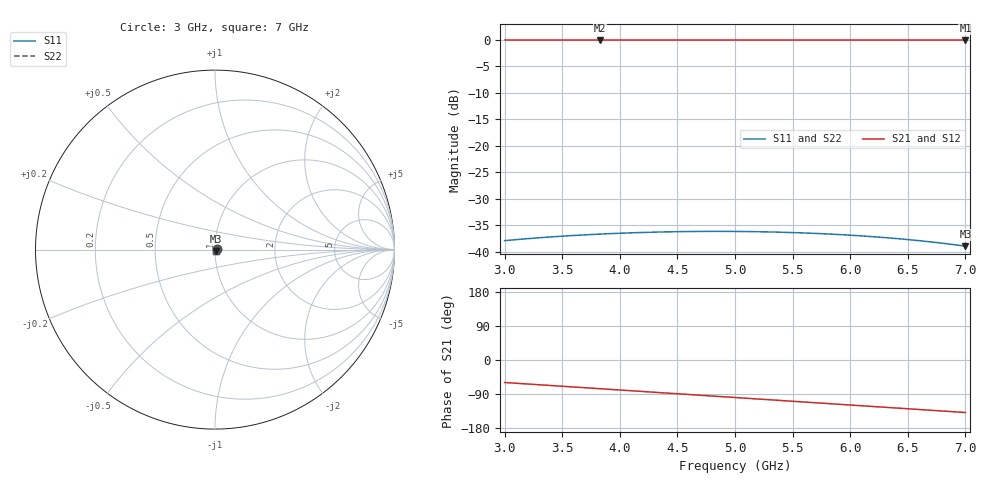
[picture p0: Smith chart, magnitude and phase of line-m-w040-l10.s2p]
! yapnr rf: line-osh-m-w0p40-l10-m-eq, footprint re-simulated (optimization grid)
! spec sha256 c935ef6d7498bb9300fb0b23c3383117289fc7b83088d3c43a507d6c65a34e45
! 2 ports renormalized to 50 ohm, e^(+jwt) convention
# GHz S RI R 50
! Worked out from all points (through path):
!   161 points, 3 GHz to 7 GHz, reference 50 ohm
!   highest |S21| = -0.14 dB at 7 GHz (marker M1); lowest = -0.1 dB at 3.825 GHz (marker M2)
!   group delay of S21, straight-line fit = 55 ps
!   lowest |S11| = -39.0 dB at 7 GHz (marker M3), VSWR 1.02, Z = 50.7 - j0.878 ohm
!   |S11| at or under -10 dB: start of sweep to end of sweep
!   |S22| runs from -39.0 to -36.2 dB; largest |S21 - S12| = 0
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3  0.0112 0.00604  0.5009 -0.8462  0.5009 -0.8462  0.0112 0.00604
3.175  0.012 0.00558  0.4489 -0.8749  0.4489 -0.8749  0.012 0.00558
3.35  0.0127 0.00503  0.3952 -0.9004  0.3952 -0.9004  0.0127 0.00503
3.525  0.0134 0.0044  0.3401 -0.9226  0.3401 -0.9226  0.0134 0.0044
3.675  0.0139 0.0038  0.2919 -0.939  0.2919 -0.939  0.0139 0.0038
3.825  0.0143 0.00315  0.2429 -0.9529  0.2429 -0.9529  0.0143 0.00315
4.1  0.015 0.00186  0.1514 -0.9716  0.1514 -0.9716  0.015 0.00186
4.35  0.0153 0.0006  0.067 -0.981  0.067 -0.981  0.0153 0.0006
4.525  0.0155 -0.000312  0.00762 -0.9833  0.00762 -0.9833  0.0155 -0.000312
4.675  0.0155 -0.0011  -0.0433 -0.9824  -0.0433 -0.9824  0.0155 -0.0011
4.825  0.0154 -0.0019  -0.0942 -0.9788  -0.0942 -0.9788  0.0154 -0.0019
5  0.0153 -0.00281  -0.1532 -0.9713  -0.1532 -0.9713  0.0153 -0.00281
5.15  0.015 -0.00358  -0.2033 -0.9621  -0.2033 -0.9621  0.015 -0.00358
5.325  0.0147 -0.00443  -0.2611 -0.9481  -0.2611 -0.9481  0.0147 -0.00443
5.5  0.0142 -0.00525  -0.3179 -0.9306  -0.3179 -0.9306  0.0142 -0.00525
5.675  0.0137 -0.006  -0.3736 -0.9096  -0.3736 -0.9096  0.0137 -0.006
5.825  0.0131 -0.00658  -0.4203 -0.8891  -0.4203 -0.8891  0.0131 -0.00658
6  0.0124 -0.00719  -0.4733 -0.862  -0.4733 -0.862  0.0124 -0.00719
6.175  0.0116 -0.0077  -0.5246 -0.8318  -0.5246 -0.8318  0.0116 -0.0077
6.35  0.0107 -0.00812  -0.5739 -0.7986  -0.5739 -0.7986  0.0107 -0.00812
6.675  0.00902 -0.00859  -0.6599 -0.7292  -0.6599 -0.7292  0.00902 -0.00859
7  0.00723 -0.00865  -0.7376 -0.6505  -0.7376 -0.6505  0.00723 -0.00865
